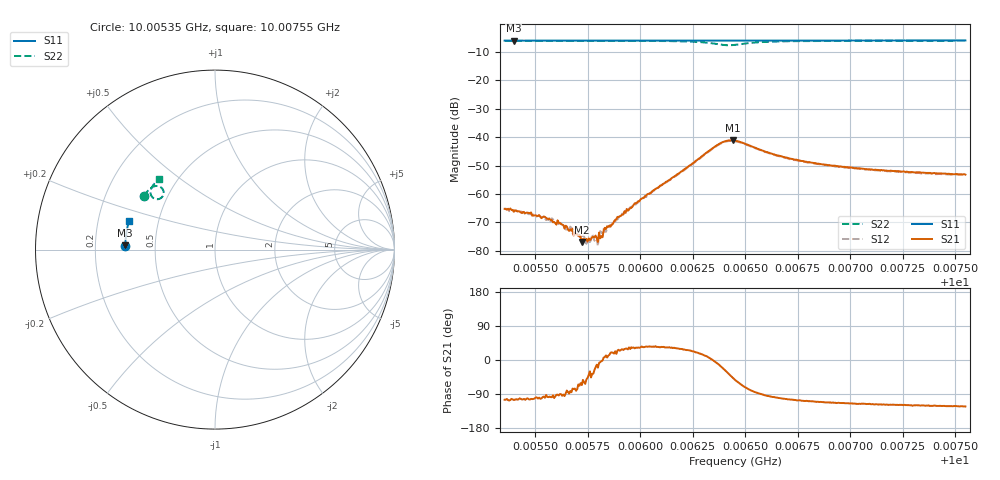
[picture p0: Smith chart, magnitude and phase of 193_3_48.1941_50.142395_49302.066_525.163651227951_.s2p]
#  HZ  S  RI  R  50.00
! Rohde & Schwarz Vector Network Analyzer
! Rohde-Schwarz,ZNB20-2Port,1311601062101988,3.16
! Created: UTC 3/20/2024, 11:44:43 AM
! freq[Hz]  re:S11  im:S11  re:S21  im:S21  re:S12  im:S12  re:S22  im:S22
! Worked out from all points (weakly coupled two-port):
!   401 points, 10.00535 GHz to 10.00755 GHz, reference 50 ohm
!   highest |S21| = -41.11 dB at 10.00644 GHz (marker M1); lowest = -76.9 dB at 10.00572 GHz (marker M2)
!   lowest |S11| = -6.0 dB at 10.0054 GHz (marker M3), VSWR 3.00, Z = 16.7 + j1.04 ohm
!   |S11| at or under -10 dB: nowhere
!   |S22| runs from -7.6 to -6.0 dB; largest |S21 - S12| = 0.00052
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1.0005353e10  -0.5 0.0205  -0.00014 -0.000528  -0.000108 -0.000534  -0.3959 0.2988
1.0005397e10  -0.4998 0.0234  -0.00013 -0.000467  -8.89e-05 -0.000507  -0.3942 0.3015
1.0005469e10  -0.4998 0.0282  -0.00011 -0.000449  -4.88e-05 -0.000437  -0.3912 0.3057
1.0005578e10  -0.4994 0.0351  -4.89e-05 -0.000344  -1.85e-05 -0.000372  -0.386 0.3123
1.0005617e10  -0.4995 0.0377  4.54e-07 -0.00031  3.23e-06 -0.000307  -0.3843 0.3145
1.0005688e10  -0.4992 0.0423  5.28e-05 -0.000204  5.87e-05 -0.000185  -0.381 0.3189
1.0005721e10  -0.499 0.0445  5.83e-05 -0.00013  7.75e-05 -0.000165  -0.3791 0.3212
1.0005748e10  -0.499 0.0463  9.79e-05 -0.000106  0.000135 -9.18e-05  -0.3777 0.3228
1.0005781e10  -0.4989 0.0485  0.000155 -7.58e-05  0.000138 -5.99e-05  -0.3759 0.3249
1.0005792e10  -0.4989 0.0492  0.000163 -3.64e-05  0.000168 -1.67e-05  -0.3754 0.3256
1.0005809e10  -0.4988 0.0502  0.000165 -1.7e-05  0.00022 2.75e-05  -0.3744 0.3266
1.0005814e10  -0.4987 0.0505  0.00018 -9e-06  0.000209 5.69e-06  -0.3739 0.3271
1.0005836e10  -0.4987 0.0519  0.000237 5.07e-05  0.000213 3.34e-05  -0.3727 0.3284
1.0005924e10  -0.4981 0.0577  0.000432 0.000237  0.000406 0.000264  -0.367 0.3343
1.0006089e10  -0.4971 0.0683  0.0011 0.000744  0.00106 0.000785  -0.3525 0.3458
1.0006363e10  -0.4942 0.0858  0.00709 -0.000944  0.00695 -0.000553  -0.2882 0.3297
1.000644e10  -0.4935 0.0901  0.00604 -0.0064  0.0062 -0.00597  -0.3074 0.2837
1.0006451e10  -0.4935 0.0907  0.00526 -0.00688  0.00555 -0.00644  -0.3145 0.2813
1.0006643e10  -0.492 0.103  -0.00074 -0.00482  -0.000479 -0.00478  -0.3596 0.3233
1.0006819e10  -0.4901 0.1143  -0.00116 -0.00335  -0.00101 -0.00333  -0.3522 0.3465
1.0007187e10  -0.485 0.1375  -0.0012 -0.00225  -0.00105 -0.00229  -0.3328 0.373
1.0007549e10  -0.4787 0.1602  -0.00119 -0.00185  -0.00106 -0.00187  -0.314 0.3919
